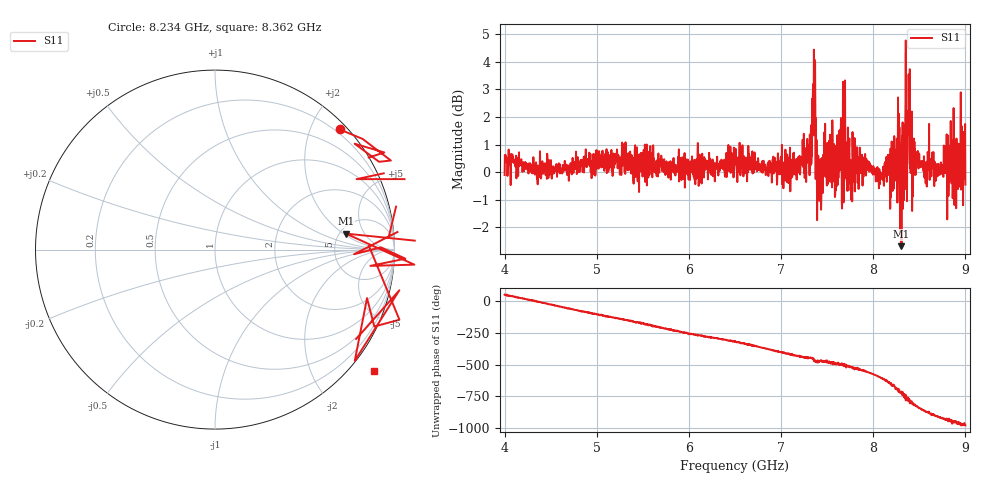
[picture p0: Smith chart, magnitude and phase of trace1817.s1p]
! Created with skrf 1.8.0 (http://scikit-rf.org).
# Hz S RI R 50.0
!freq ReS11 ImS11
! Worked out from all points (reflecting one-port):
!   1601 points, 4 GHz to 9 GHz, reference 50 ohm
!   lowest |S11| = -2.7 dB at 8.306 GHz (marker M1), VSWR 6.54, Z = 283 + j110 ohm
!   phase of S11 starts at 52 deg and turns -1033 deg over the sweep
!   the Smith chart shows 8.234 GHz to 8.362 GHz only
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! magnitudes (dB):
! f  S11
! 4 GHz  -0.1
! 4.625 GHz  0.0
! 5.25 GHz  -0.1
! 5.875 GHz  0.0
! 6.5 GHz  0.5
! 7.125 GHz  0.4
! 7.297 GHz  0.7
! 7.316 GHz  0.2
! 7.347 GHz  3.2
! 7.362 GHz  4.1
! 7.412 GHz  0.0
! 7.503 GHz  0.7
! 7.609 GHz  1.3
! 7.669 GHz  0.9
! 7.75 GHz  -0.4
! 8.075 GHz  0.0
! 8.156 GHz  0.1
! 8.209 GHz  -0.7
! 8.262 GHz  -1.1
! 8.306 GHz  -2.7
! 8.316 GHz  -0.3
! 8.334 GHz  0.0
! 8.347 GHz  1.7
! 8.375 GHz  0.7
! 8.447 GHz  1.1
! 8.9 GHz  -1.3
! 8.972 GHz  0.4
! 9 GHz  -0.4
